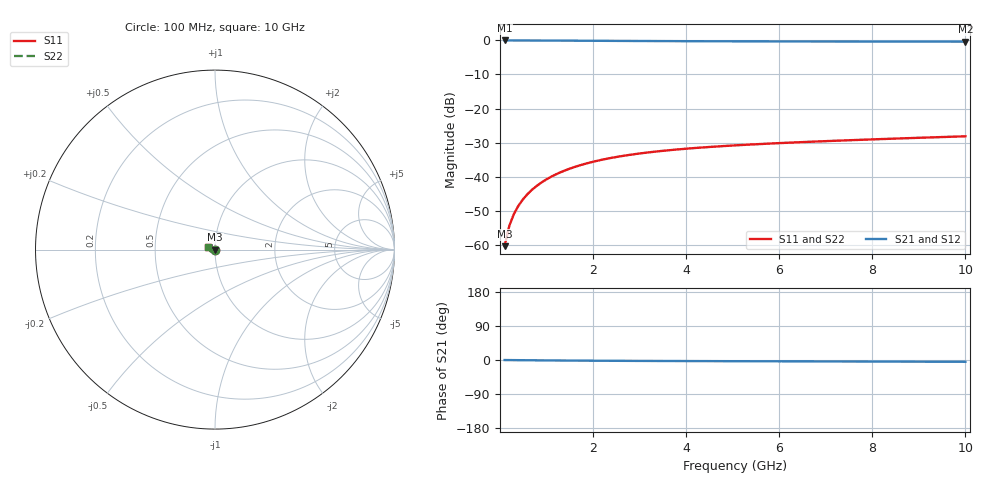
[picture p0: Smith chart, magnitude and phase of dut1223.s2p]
! Touchstone file exported from HFSS 2024.1.0
!  File:  C:/UserFiles/LocalFiles/RDL_TSV_Batchsim/temp_TSV1_1223_1780249648.aedt
!  Generated:  01:53:39 AM Jun  1, 2026
!  Design:  TSV1
!  Project:  temp_TSV1_1223_1780249648
!  Setup:  Setup1
!  Solution:  Sweep
! Variables:
!  dtsv = 9.43um
!  hbump = 3um
!  htsv = 69.91um
!  lrdl = 252.1521522um
!  p = 40
!  p1 = 57.88um
!  t = 500um
!  trdl = 3um
!  wrdl = 24.89489489um
# GHz S MA R 50.000000
! Terminal data exported
! Port[1] = TSV22_T1
! Port[2] = TSV22_T2
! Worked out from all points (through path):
!   100 points, 100 MHz to 10 GHz, reference 50 ohm
!   highest |S21| = 0.00 dB at 100 MHz (marker M1); lowest = -0.3 dB at 10 GHz (marker M2)
!   lowest |S11| = -60.4 dB at 100 MHz (marker M3), VSWR 1.00, Z = 50 - j0.0944 ohm
!   |S11| at or under -10 dB: start of sweep to end of sweep
!   |S22| runs from -60.4 to -28.2 dB; largest |S21 - S12| = 1e-14
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0.1  0.0009502 -83.1  0.9998 -0.1  0.9998 -0.1  0.0009502 -83.1
! Gamma 0 0 0 0
! Port Impedance 50 0 50 0
0.2  0.001886 -89.6  0.9997 -0.2  0.9997 -0.2  0.001886 -89.6
0.3  0.002825 -93.2  0.9995 -0.3  0.9995 -0.3  0.002825 -93.2
0.4  0.00376 -96.1  0.9992 -0.4  0.9992 -0.4  0.00376 -96.1
0.5  0.004686 -98.7  0.9989 -0.5  0.9989 -0.5  0.004686 -98.7
0.6  0.005602 -101.1  0.9985 -0.7  0.9985 -0.7  0.005602 -101.1
0.7  0.006504 -103.5  0.9981 -0.8  0.9981 -0.8  0.006504 -103.5
0.8  0.007391 -105.7  0.9976 -0.9  0.9976 -0.9  0.007391 -105.7
0.9  0.008262 -107.9  0.997 -1.0  0.997 -1.0  0.008262 -107.9
1.1  0.00995 -112.2  0.9958 -1.1  0.9958 -1.1  0.00995 -112.2
1.4  0.01233 -118.2  0.9937 -1.4  0.9937 -1.4  0.01233 -118.2
1.6  0.01381 -122.0  0.9922 -1.6  0.9922 -1.6  0.01381 -122.0
1.8  0.0152 -125.7  0.9907 -1.7  0.9907 -1.7  0.0152 -125.7
2.1  0.01712 -131.0  0.9883 -1.9  0.9883 -1.9  0.01712 -131.0
2.5  0.0194 -137.4  0.9852 -2.2  0.9852 -2.2  0.0194 -137.4
2.9  0.02139 -143.4  0.9823 -2.4  0.9823 -2.4  0.02139 -143.4
3.4  0.02352 -150.1  0.979 -2.6  0.979 -2.6  0.02352 -150.1
4.2  0.02632 -159.6  0.9746 -2.9  0.9746 -2.9  0.02632 -159.6
5.1  0.02886 -168.6  0.9707 -3.2  0.9707 -3.2  0.02886 -168.6
6.7  0.03255 178.3  0.966 -3.7  0.966 -3.7  0.03255 178.3
8.4  0.03597 167.2  0.9627 -4.2  0.9627 -4.2  0.03597 167.2
10  0.03907 158.6  0.9606 -4.7  0.9606 -4.7  0.03907 158.7
